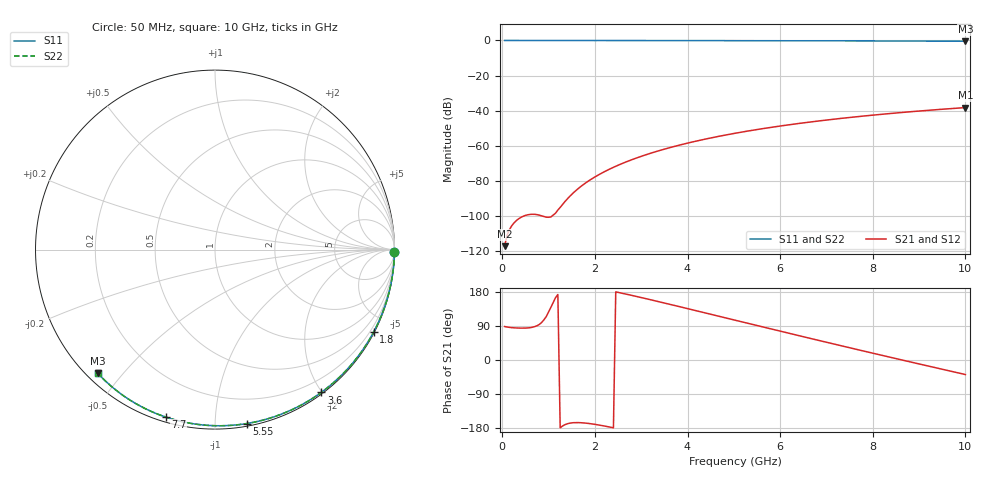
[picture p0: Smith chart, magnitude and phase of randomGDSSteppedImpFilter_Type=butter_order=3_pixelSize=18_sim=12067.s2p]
! freq	dB(S11)	phase(S11)	dB(S12)	phase(S12)
!  dB(S21)	phase(S21)	dB(S22)	phase(S22)
!S-par simulation data
#  GHz  S  DB  R 50
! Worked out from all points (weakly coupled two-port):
!   200 points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, 50 MHz to 10 GHz, reference 50 ohm
!   highest |S21| = -38.29 dB at 10 GHz (marker M1); lowest = -117.3 dB at 50 MHz (marker M2)
!   lowest |S11| = -0.4 dB at 10 GHz (marker M3), VSWR 38.69, Z = 1.53 - j21.5 ohm
!   |S11| at or under -10 dB: nowhere
!   |S22| runs from -0.4 to 0.0 dB; largest |S21 - S12| = 0
!   S11 on the Smith chart (normalised r, x): 50 MHz: open; 1.8 GHz: 0.04, -4.12; 3.6 GHz: 0.02, -1.99; 5.55 GHz: 0.02, -1.20; 7.7 GHz: 0.02, -0.75; 10 GHz: 0.03, -0.43
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0.05  -0.00 -0.8  -117.34 88.3  -117.34 88.3  -0.00 -0.8
0.9  -0.02 -13.8  -100.46 106.2  -100.46 106.2  -0.02 -13.8
1.75  -0.03 -26.5  -82.20 -165.9  -82.20 -165.9  -0.03 -26.5
1.8  -0.03 -27.3  -81.25 -166.5  -81.25 -166.5  -0.03 -27.3
1.85  -0.04 -28.0  -80.35 -167.2  -80.35 -167.2  -0.04 -28.0
1.9  -0.04 -28.8  -79.48 -168.0  -79.48 -168.0  -0.04 -28.8
2.05  -0.04 -31.0  -77.07 -170.8  -77.07 -170.8  -0.04 -31.0
2.25  -0.04 -33.9  -74.24 -175.3  -74.24 -175.3  -0.04 -33.9
2.45  -0.05 -36.9  -71.75 179.8  -71.75 179.8  -0.05 -36.9
2.65  -0.05 -39.8  -69.51 174.5  -69.51 174.5  -0.05 -39.8
3  -0.06 -44.8  -66.09 164.8  -66.09 164.8  -0.06 -44.8
3.4  -0.07 -50.5  -62.75 153.3  -62.75 153.3  -0.07 -50.5
3.6  -0.07 -53.4  -61.25 147.4  -61.25 147.4  -0.07 -53.3
4.3  -0.09 -63.0  -56.74 126.7  -56.74 126.7  -0.09 -63.0
5.05  -0.11 -73.1  -52.82 104.4  -52.82 104.4  -0.11 -73.1
5.55  -0.13 -79.7  -50.60 89.5  -50.60 89.5  -0.13 -79.7
6.1  -0.15 -86.7  -48.43 73.2  -48.43 73.2  -0.15 -86.7
6.7  -0.18 -94.3  -46.34 55.6  -46.34 55.6  -0.18 -94.3
7.7  -0.24 -106.5  -43.38 26.5  -43.38 26.5  -0.24 -106.5
8.35  -0.29 -114.2  -41.73 8.0  -41.73 8.0  -0.29 -114.2
9.15  -0.36 -123.6  -39.94 -14.6  -39.94 -14.6  -0.36 -123.6
10  -0.45 -133.4  -38.29 -38.4  -38.29 -38.4  -0.45 -133.4
